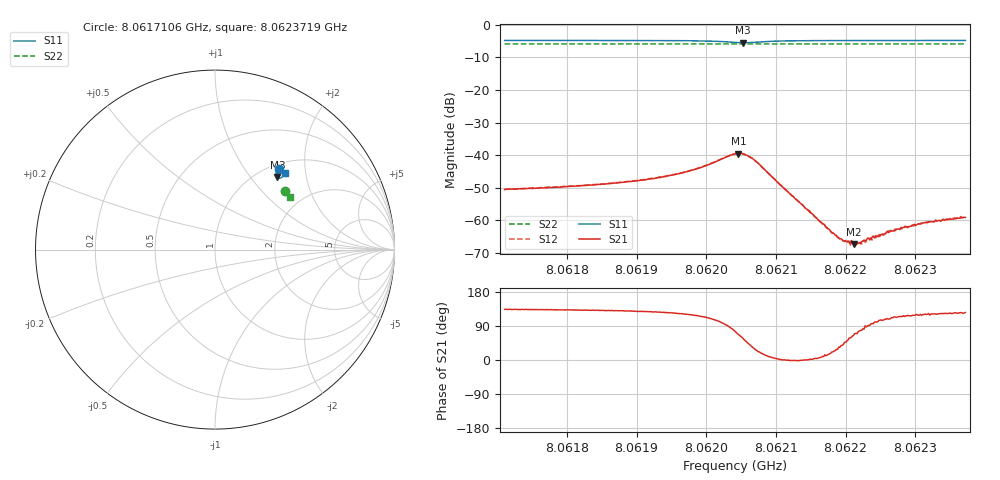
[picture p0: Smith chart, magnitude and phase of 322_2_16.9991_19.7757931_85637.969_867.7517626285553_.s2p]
#  HZ  S  RI  R  50.00
! Rohde & Schwarz Vector Network Analyzer
! Rohde-Schwarz,ZNB20-2Port,1311601062101988,3.16
! Created: UTC 3/20/2024, 11:06:27 PM
! freq[Hz]  re:S11  im:S11  re:S21  im:S21  re:S12  im:S12  re:S22  im:S22
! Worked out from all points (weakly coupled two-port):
!   401 points, 8.0617106 GHz to 8.0623719 GHz, reference 50 ohm
!   highest |S21| = -39.49 dB at 8.0620462 GHz (marker M1); lowest = -67.3 dB at 8.0622115 GHz (marker M2)
!   lowest |S11| = -5.5 dB at 8.0620528 GHz (marker M3), VSWR 3.27, Z = 61.1 + j68.4 ohm
!   |S11| at or under -10 dB: nowhere
!   |S22| runs from -5.9 to -5.8 dB; largest |S21 - S12| = 0.0008
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8.06171064e9  0.359 0.4503  -0.00204 0.00214  -0.00196 0.00228  0.3917 0.3276
8.0618214e9  0.3666 0.4438  -0.00225 0.00256  -0.00212 0.00266  0.396 0.3222
8.06188257e9  0.3711 0.4392  -0.00246 0.00301  -0.00226 0.00313  0.3983 0.3191
8.06193216e9  0.3753 0.4343  -0.0027 0.00366  -0.00248 0.0039  0.4001 0.3164
8.06198506e9  0.3798 0.4241  -0.00286 0.00542  -0.00251 0.00564  0.402 0.3134
8.06204126e9  0.3617 0.3981  0.00252 0.0101  0.00314 0.00999  0.4026 0.3099
8.06204622e9  0.3555 0.3983  0.004 0.00982  0.00456 0.00962  0.4027 0.3098
8.06205283e9  0.3472 0.402  0.00566 0.00874  0.00636 0.00844  0.4026 0.3099
8.06206275e9  0.3397 0.4131  0.0072 0.00604  0.00759 0.00555  0.4027 0.3099
8.06207267e9  0.3398 0.4245  0.00713 0.0033  0.00726 0.00288  0.4032 0.31
8.06210904e9  0.3566 0.4392  0.0033 2.71e-05  0.00332 -0.000207  0.4056 0.3087
8.06215202e9  0.368 0.4384  0.00126 4.4e-05  0.00126 -2.72e-05  0.4074 0.3065
8.06217847e9  0.3722 0.4368  0.000648 0.000205  0.000664 0.000171  0.4084 0.3051
8.06218839e9  0.3736 0.4361  0.000487 0.000257  0.0005 0.000254  0.4089 0.3045
8.06219831e9  0.3748 0.4355  0.000333 0.000352  0.000375 0.000292  0.4092 0.3041
8.06221153e9  0.3763 0.4346  0.000179 0.000391  0.000209 0.000399  0.4098 0.3035
8.0622198e9  0.377 0.4342  0.000103 0.00044  0.000115 0.00044  0.41 0.3028
8.06222972e9  0.3781 0.4334  2.56e-05 0.000496  3.12e-05 0.000478  0.4105 0.3024
8.06224459e9  0.3794 0.4327  -0.000103 0.000568  -7.35e-05 0.000529  0.4111 0.3017
8.06226278e9  0.381 0.4315  -0.00021 0.000637  -0.000181 0.00063  0.4117 0.3008
8.06231733e9  0.3852 0.4284  -0.000469 0.00079  -0.000455 0.000833  0.4136 0.2979
8.06237188e9  0.3887 0.4253  -0.000645 0.000903  -0.000567 0.000961  0.4155 0.295
